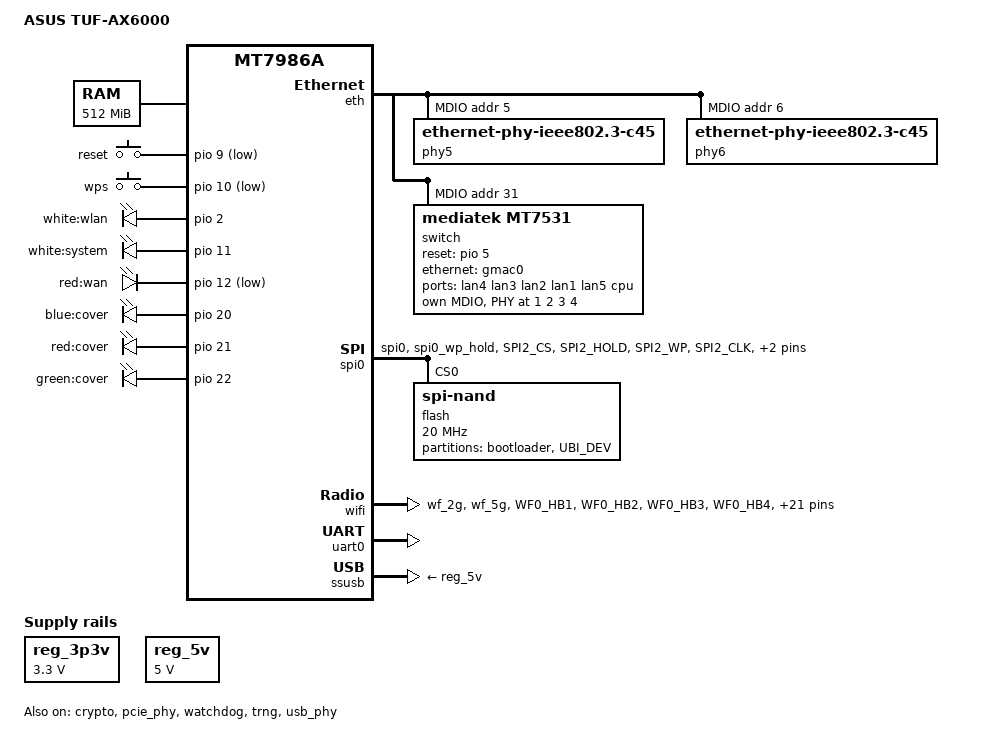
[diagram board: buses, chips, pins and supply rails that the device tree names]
// SPDX-License-Identifier: (GPL-2.0 OR MIT)

/dts-v1/;
#include <dt-bindings/gpio/gpio.h>
#include <dt-bindings/input/input.h>
#include <dt-bindings/leds/common.h>

#include "mt7986a.dtsi"

/ {
	model = "ASUS TUF-AX6000";
	compatible = "asus,tuf-ax6000", "mediatek,mt7986a";

	aliases {
		serial0 = &uart0;
		led-boot = &led_system;
		led-failsafe = &led_system;
		led-running = &led_system;
		led-upgrade = &led_system;
	};

	chosen {
		stdout-path = "serial0:115200n8";
		bootargs-override = "ubi.mtd=UBI_DEV";
	};

	memory {
		reg = <0 0x40000000 0 0x20000000>;
	};

	keys {
		compatible = "gpio-keys";

		reset {
			label = "reset";
			gpios = <&pio 9 GPIO_ACTIVE_LOW>;
			linux,code = <KEY_RESTART>;
		};

		mesh {
			label = "wps";
			gpios = <&pio 10 GPIO_ACTIVE_LOW>;
			linux,code = <KEY_WPS_BUTTON>;
		};
	};

	leds {
		compatible = "gpio-leds";

		wlan {
			label = "white:wlan";
			gpios = <&pio 2 GPIO_ACTIVE_HIGH>;
			linux,default-trigger = "phy1tpt";
		};

		led_system: system {
			label = "white:system";
			gpios = <&pio 11 GPIO_ACTIVE_HIGH>;
		};

		wan-red {
			label = "red:wan";
			gpios = <&pio 12 GPIO_ACTIVE_LOW>;
		};

		cover-blue {
			label = "blue:cover";
			gpios = <&pio 20 GPIO_ACTIVE_HIGH>;
		};

		cover-red {
			label = "red:cover";
			gpios = <&pio 21 GPIO_ACTIVE_HIGH>;
		};

		cover-green {
			label = "green:cover";
			gpios = <&pio 22 GPIO_ACTIVE_HIGH>;
		};
	};

	reg_3p3v: regulator-3p3v {
		compatible = "regulator-fixed";
		regulator-name = "fixed-3.3V";
		regulator-min-microvolt = <3300000>;
		regulator-max-microvolt = <3300000>;
		regulator-boot-on;
		regulator-always-on;
	};

	reg_5v: regulator-5v {
		compatible = "regulator-fixed";
		regulator-name = "fixed-5V";
		regulator-min-microvolt = <5000000>;
		regulator-max-microvolt = <5000000>;
		regulator-boot-on;
		regulator-always-on;
	};
};

&crypto {
	status = "okay";
};

&eth {
	status = "okay";

	gmac0: mac@0 {
		compatible = "mediatek,eth-mac";
		reg = <0>;
		phy-mode = "2500base-x";

		fixed-link {
			speed = <2500>;
			full-duplex;
			pause;
		};
	};

	gmac1: mac@1 {
		compatible = "mediatek,eth-mac";
		reg = <1>;
		phy-mode = "2500base-x";
		phy-handle = <&phy6>;
	};

	mdio: mdio-bus {
		#address-cells = <1>;
		#size-cells = <0>;
	};
};

&mdio {
	reset-gpios = <&pio 6 GPIO_ACTIVE_LOW>;
	reset-delay-us = <50000>;
	reset-post-delay-us = <20000>;

	phy5: phy@5 {
		compatible = "ethernet-phy-ieee802.3-c45";
		reg = <5>;

		mxl,led-drive-vdd;
		mxl,led-config = <0x03f0 0x0 0x0 0x0>;
	};

	phy6: phy@6 {
		compatible = "ethernet-phy-ieee802.3-c45";
		reg = <6>;

		/* LED0: CONN (WAN white) */
		mxl,led-config = <0x03f0 0x0 0x0 0x0>;
	};

	switch: switch@1f {
		compatible = "mediatek,mt7531";
		reg = <31>;

		reset-gpios = <&pio 5 GPIO_ACTIVE_HIGH>;
		reset-assert-us = <10000>;
		reset-deassert-us = <10000>;
	};
};

&pio {
	spi_flash_pins: spi-flash-pins-33-to-38 {
		mux {
			function = "spi";
			groups = "spi0", "spi0_wp_hold";
		};
		conf-pu {
			pins = "SPI2_CS", "SPI2_HOLD", "SPI2_WP";
			drive-strength = <8>;
			mediatek,pull-up-adv = <0>; /* bias-disable */
		};
		conf-pd {
			pins = "SPI2_CLK", "SPI2_MOSI", "SPI2_MISO";
			drive-strength = <8>;
			mediatek,pull-down-adv = <0>; /* bias-disable */
		};
	};

	wf_2g_5g_pins: wf_2g_5g-pins {
		mux {
			function = "wifi";
			groups = "wf_2g", "wf_5g";
		};
		conf {
			pins = "WF0_HB1", "WF0_HB2", "WF0_HB3", "WF0_HB4",
			       "WF0_HB0", "WF0_HB0_B", "WF0_HB5", "WF0_HB6",
			       "WF0_HB7", "WF0_HB8", "WF0_HB9", "WF0_HB10",
			       "WF0_TOP_CLK", "WF0_TOP_DATA", "WF1_HB1",
			       "WF1_HB2", "WF1_HB3", "WF1_HB4", "WF1_HB0",
			       "WF1_HB5", "WF1_HB6", "WF1_HB7", "WF1_HB8",
			       "WF1_TOP_CLK", "WF1_TOP_DATA";
			drive-strength = <4>;
		};
	};

	wf_dbdc_pins: wf-dbdc-pins {
		mux {
			function = "wifi";
			groups = "wf_dbdc";
		};
		conf {
			pins = "WF0_HB1", "WF0_HB2", "WF0_HB3", "WF0_HB4",
				"WF0_HB0", "WF0_HB0_B", "WF0_HB5", "WF0_HB6",
				"WF0_HB7", "WF0_HB8", "WF0_HB9", "WF0_HB10",
				"WF0_TOP_CLK", "WF0_TOP_DATA", "WF1_HB1",
				"WF1_HB2", "WF1_HB3", "WF1_HB4", "WF1_HB0",
				"WF1_HB5", "WF1_HB6", "WF1_HB7", "WF1_HB8",
				"WF1_TOP_CLK", "WF1_TOP_DATA";
			drive-strength = <4>;
		};
	};
};

&pcie_phy {
	status = "okay";
};

&spi0 {
	pinctrl-names = "default";
	pinctrl-0 = <&spi_flash_pins>;
	status = "okay";

	flash@0 {
		compatible = "spi-nand";
		#address-cells = <1>;
		#size-cells = <1>;
		reg = <0>;

		spi-max-frequency = <20000000>;
		spi-tx-bus-width = <4>;
		spi-rx-bus-width = <4>;

		partitions {
			compatible = "fixed-partitions";
			#address-cells = <1>;
			#size-cells = <1>;

			partition@0 {
				reg = <0x0 0x400000>;
				label = "bootloader";
				read-only;
			};

			partition@400000 {
				reg = <0x400000 0xfc00000>;
				label = "UBI_DEV";
			};
		};
	};
};

&switch {
	ports {
		#address-cells = <1>;
		#size-cells = <0>;

		port@1 {
			reg = <1>;
			label = "lan4";
			phy-handle = <&swphy1>;
		};

		port@2 {
			reg = <2>;
			label = "lan3";
			phy-handle = <&swphy2>;
		};

		port@3 {
			reg = <3>;
			label = "lan2";
			phy-handle = <&swphy3>;
		};

		port@4 {
			reg = <4>;
			label = "lan1";
			phy-handle = <&swphy4>;
		};

		port@5 {
			reg = <5>;
			label = "lan5";
			phy-handle = <&phy5>;
			phy-mode = "2500base-x";
		};

		port@6 {
			reg = <6>;
			label = "cpu";
			ethernet = <&gmac0>;
			phy-mode = "2500base-x";

			fixed-link {
				speed = <2500>;
				full-duplex;
				pause;
			};
		};
	};

	mdio {
		#address-cells = <1>;
		#size-cells = <0>;

		swphy1: phy@1 {
			reg = <1>;

			mediatek,led-config = <
				0x21 0x8009 /* BASIC_CTRL */
				0x22 0x0c00 /* ON_DURATION */
				0x23 0x1400 /* BLINK_DURATION */
				0x24 0x8000 /* LED0_ON_CTRL */
				0x25 0x0000 /* LED0_BLINK_CTRL */
				0x26 0xc007 /* LED1_ON_CTRL */
				0x27 0x003f /* LED1_BLINK_CTRL */
			>;
		};

		swphy2: phy@2 {
			reg = <2>;

			mediatek,led-config = <
				0x21 0x8009 /* BASIC_CTRL */
				0x22 0x0c00 /* ON_DURATION */
				0x23 0x1400 /* BLINK_DURATION */
				0x24 0x8000 /* LED0_ON_CTRL */
				0x25 0x0000 /* LED0_BLINK_CTRL */
				0x26 0xc007 /* LED1_ON_CTRL */
				0x27 0x003f /* LED1_BLINK_CTRL */
			>;
		};

		swphy3: phy@3 {
			reg = <3>;

			mediatek,led-config = <
				0x21 0x8009 /* BASIC_CTRL */
				0x22 0x0c00 /* ON_DURATION */
				0x23 0x1400 /* BLINK_DURATION */
				0x24 0x8000 /* LED0_ON_CTRL */
				0x25 0x0000 /* LED0_BLINK_CTRL */
				0x26 0xc007 /* LED1_ON_CTRL */
				0x27 0x003f /* LED1_BLINK_CTRL */
			>;
		};

		swphy4: phy@4 {
			reg = <4>;

			mediatek,led-config = <
				0x21 0x8009 /* BASIC_CTRL */
				0x22 0x0c00 /* ON_DURATION */
				0x23 0x1400 /* BLINK_DURATION */
				0x24 0x8000 /* LED0_ON_CTRL */
				0x25 0x0000 /* LED0_BLINK_CTRL */
				0x26 0xc007 /* LED1_ON_CTRL */
				0x27 0x003f /* LED1_BLINK_CTRL */
			>;
		};
	};
};

&watchdog {
	status = "okay";
};

&wifi {
	pinctrl-names = "default", "dbdc";
	pinctrl-0 = <&wf_2g_5g_pins>;
	pinctrl-1 = <&wf_dbdc_pins>;
	status = "okay";
};

&trng {
	status = "okay";
};

&uart0 {
	status = "okay";
};

&ssusb {
	vusb33-supply = <&reg_3p3v>;
	vbus-supply = <&reg_5v>;
	status = "okay";
};

&usb_phy {
	status = "okay";
};
